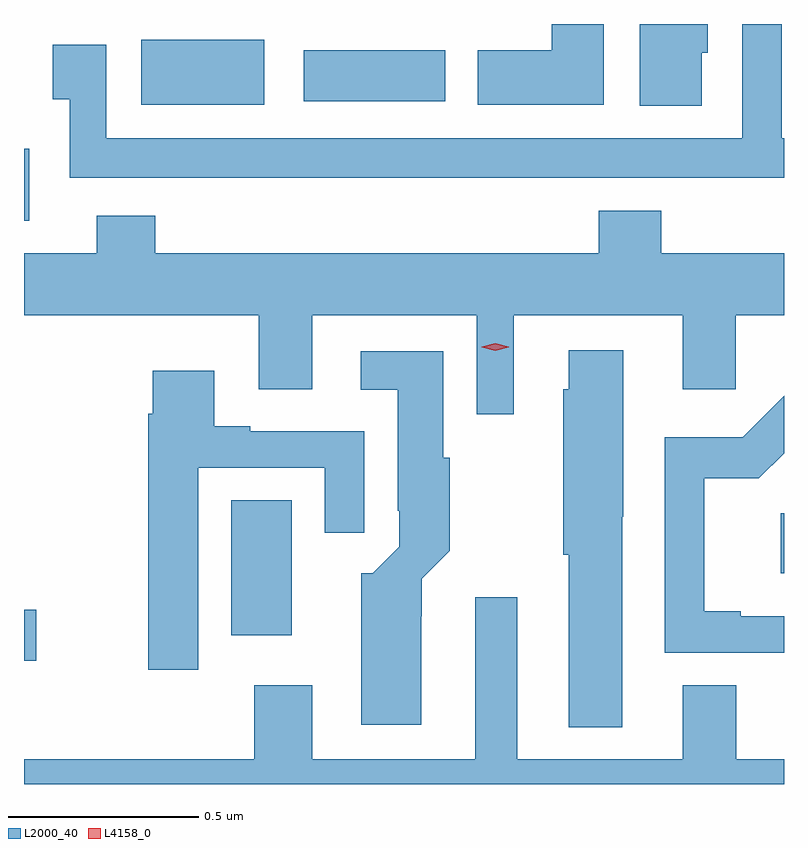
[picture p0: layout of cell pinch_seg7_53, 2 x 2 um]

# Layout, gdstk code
import gdstk
lib = gdstk.Library(unit=1e-6, precision=1e-09)
def R(c, l, rs):  # rectangles x0, y0, x1, y1
    for r in rs: c.add(gdstk.rectangle(r[:2], r[2:], *l))
def P(c, l, *ps):  # polygons
    for p in ps: c.add(gdstk.Polygon(p, *l))
L2000_40 = (2000, 40)
L4158_0 = (4158, 0)

pinch_seg7_53 = lib.new_cell('pinch_seg7_53')
R(pinch_seg7_53, L2000_40, [(974.891,1047.659,974.923,1047.794), (975.437,1047.726,975.595,1048.082), (976.883,1047.89,976.891,1048.047), (974.891,1048.817,974.905,1049.007), (975.2,1049.123,975.523,1049.293), (975.627,1049.132,976,1049.266)])
P(pinch_seg7_53, L2000_40, [(976.891,1049.035),(976.885,1049.035),(976.885,1049.335),(976.781,1049.335),(976.781,1049.035),(975.108,1049.035),(975.108,1049.281),(974.966,1049.281),(974.966,1049.137),(975.011,1049.137),(975.011,1048.931),(976.891,1048.931)],
  [(976.417,1049.335),(976.28,1049.335),(976.28,1049.266),(976.085,1049.266),(976.085,1049.123),(976.417,1049.123)],
  [(976.675,1049.259),(976.69,1049.259),(976.69,1049.335),(976.511,1049.335),(976.511,1049.12),(976.675,1049.12)],
  [(976.18,1048.568),(976.625,1048.568),(976.625,1048.374),(976.764,1048.374),(976.764,1048.568),(976.891,1048.568),(976.891,1048.732),(976.568,1048.732),(976.568,1048.843),(976.403,1048.843),(976.403,1048.732),(975.236,1048.732),(975.236,1048.831),(975.083,1048.831),(975.083,1048.732),(974.891,1048.732),(974.891,1048.568),(975.509,1048.568),(975.509,1048.374),(975.649,1048.374),(975.649,1048.568),(976.083,1048.568),(976.083,1048.308),(976.18,1048.308)],
  [(976.465,1048.038),(976.468,1048.038),(976.468,1048.477),(976.325,1048.477),(976.325,1048.374),(976.31,1048.374),(976.31,1047.938),(976.325,1047.938),(976.325,1047.485),(976.465,1047.485)],
  [(975.937,1047.776),(975.938,1047.776),(975.938,1047.875),(976.012,1047.949),(976.012,1048.194),(975.994,1048.194),(975.994,1048.474),(975.777,1048.474),(975.777,1048.373),(975.875,1048.373),(975.875,1048.054),(975.879,1048.054),(975.879,1047.96),(975.809,1047.89),(975.779,1047.89),(975.779,1047.491),(975.937,1047.491)],
  [(975.349,1048.167),(975.683,1048.167),(975.683,1047.996),(975.787,1047.996),(975.787,1048.263),(975.487,1048.263),(975.487,1048.276),(975.391,1048.276),(975.391,1048.423),(975.23,1048.423),(975.23,1048.31),(975.218,1048.31),(975.218,1047.636),(975.349,1047.636)],
  [(976.891,1047.777),(976.777,1047.777),(976.777,1047.79),(976.681,1047.79),(976.681,1048.139),(976.825,1048.139),(976.891,1048.205),(976.891,1048.357),(976.782,1048.248),(976.577,1048.248),(976.577,1047.681),(976.891,1047.681)],
  [(976.891,1047.4),(976.765,1047.4),(976.765,1047.595),(976.625,1047.595),(976.625,1047.4),(976.189,1047.4),(976.189,1047.826),(976.079,1047.826),(976.079,1047.4),(975.649,1047.4),(975.649,1047.595),(975.497,1047.595),(975.497,1047.4),(974.891,1047.4),(974.891,1047.335),(976.891,1047.335)])
P(pinch_seg7_53, L4158_0, [(976.131,1048.475),(976.095,1048.485),(976.095,1048.485),(976.095,1048.486),(976.131,1048.495),(976.166,1048.486),(976.166,1048.485),(976.166,1048.485)])

lib.write_gds('pinch_seg7_53.gds')
